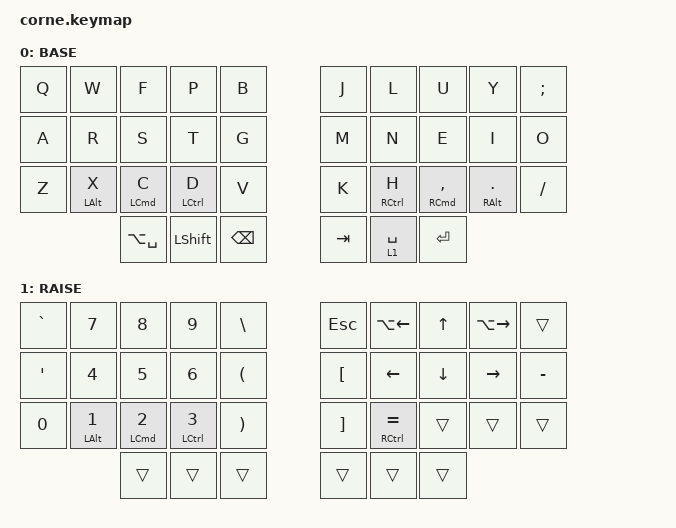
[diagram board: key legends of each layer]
#include <behaviors.dtsi>
#include <dt-bindings/zmk/bt.h>
#include <dt-bindings/zmk/keys.h>
#include <dt-bindings/zmk/outputs.h>

/ {
  chosen {
    zmk,physical-layout = &foostan_corne_5col_layout;
  };
};

&lt {
  flavor = "balanced";
};

/ {
  combos {
    compatible = "zmk,combos";

    combo_sel_0 {
      key-positions = <2 3 6>;
      bindings = <&bt BT_SEL 0>;
    };

    combo_sel_1 {
      key-positions = <2 3 7>;
      bindings = <&bt BT_SEL 1>;
    };

    combo_clr {
      key-positions = <2 3 9>;
      bindings = <&bt BT_CLR>;
    };

    combo_raise {
      key-positions = <30 34>;
      bindings = <&tog 1>;
    };
  };
};

/ {
  behaviors {
    olmt: outer_left_mod_tap {
      compatible = "zmk,behavior-hold-tap";
      label = "OUTER_LEFT_MOD_TAP";
      #binding-cells = <2>;
      bindings = <&kp>, <&kp>;
      flavor = "tap-preferred";
      tapping-term-ms = <200>;
      hold-trigger-key-positions = <21 22 5 6 7 8 9 15 16 17 18 19 25 26 27 28 29 33 34 35>;
    };

    lmt: inner_left_mod_tap {
      compatible = "zmk,behavior-hold-tap";
      label = "INNER_LEFT_MOD_TAP";
      #binding-cells = <2>;
      bindings = <&kp>, <&kp>;
      flavor = "tap-preferred";
      tapping-term-ms = <200>;
      hold-trigger-key-positions = <5 6 7 8 9 15 16 17 18 19 25 26 27 28 29 33 34 35>;
    };

    rmt: inner_right_mod_tap {
      compatible = "zmk,behavior-hold-tap";
      label = "INNER_RIGHT_MOD_TAP";
      #binding-cells = <2>;
      bindings = <&kp>, <&kp>;
      flavor = "tap-preferred";
      tapping-term-ms = <200>;
      hold-trigger-key-positions = <0 1 2 3 4 10 11 12 13 14 20 21 22 23 24 30 31 32>;
    };

    ormt: outer_right_mod_tap {
      compatible = "zmk,behavior-hold-tap";
      label = "OUTER_RIGHT_MOD_TAP";
      #binding-cells = <2>;
      bindings = <&kp>, <&kp>;
      flavor = "tap-preferred";
      tapping-term-ms = <200>;
      hold-trigger-key-positions = <27 28 0 1 2 3 4 10 11 12 13 14 20 21 22 23 24 30 31 32>;
    };
  };
};

/ {
  keymap {
    compatible = "zmk,keymap";

    default_layer {
      label = "BASE";
      bindings = <
        &kp Q &kp W &kp F &kp P &kp B &kp J &kp L &kp U &kp Y &kp SEMI
        &kp A &kp R &kp S &kp T &kp G &kp M &kp N &kp E &kp I &kp O
        &kp Z &olmt LALT X &olmt LCMD C &lmt LCTRL D &kp V &kp K &rmt RCTRL H &ormt RCMD COMMA &ormt RALT DOT &kp SLASH
        &kp LA(SPACE) &kp LSHFT &kp BSPC &kp TAB &lt 1 SPACE &kp ENTER
      >;
    };

    raise_layer {
      label = "RAISE";
      bindings = <
        &kp GRAVE &kp N7 &kp N8 &kp N9 &kp BSLH &kp ESC &kp LA(LEFT) &kp UP &kp LA(RIGHT) &trans
        &kp APOS &kp N4 &kp N5 &kp N6 &kp LPAR &kp LBKT &kp LEFT &kp DOWN &kp RIGHT &kp MINUS
        &kp N0 &olmt LALT N1 &olmt LCMD N2 &lmt LCTRL N3 &kp RPAR &kp RBKT &rmt RCTRL EQUAL &trans &trans &trans
        &trans &trans &trans &trans &trans &trans
      >;
    };
  };
};
